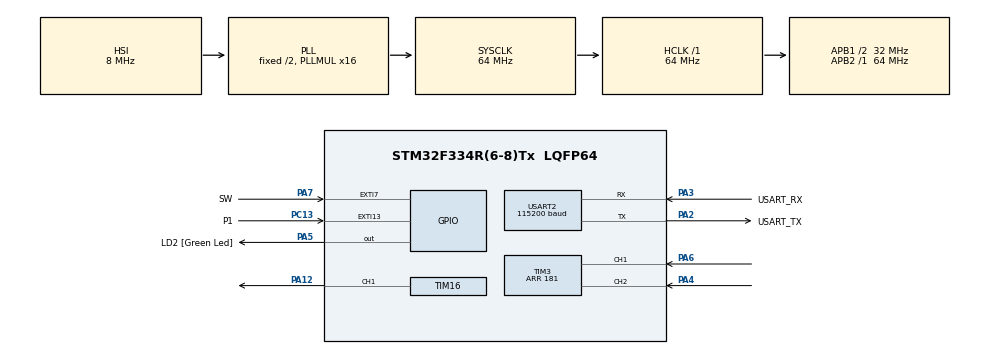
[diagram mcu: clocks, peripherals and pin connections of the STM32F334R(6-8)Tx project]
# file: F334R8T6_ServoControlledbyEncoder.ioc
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Mcu.Family=STM32F3
Mcu.Name=STM32F334R(6-8)Tx
Mcu.Package=LQFP64
NVIC.EXTI15_10_IRQn=true\:0\:0\:false\:false\:true\:true\:true\:true
NVIC.EXTI9_5_IRQn=true\:0\:0\:false\:false\:true\:true\:true\:true
NVIC.PriorityGroup=NVIC_PRIORITYGROUP_0
PA12.Signal=S_TIM16_CH1
PA13.GPIO_Label=TMS
PA13.Mode=Serial_Wire
PA13.Signal=SYS_JTMS-SWDIO
PA14.GPIO_Label=TCK
PA14.Mode=Serial_Wire
PA14.Signal=SYS_JTCK-SWCLK
PA2.GPIO_Label=USART_TX
PA2.Mode=Asynchronous
PA2.Signal=USART2_TX
PA3.GPIO_Label=USART_RX
PA3.Mode=Asynchronous
PA3.Signal=USART2_RX
PA4.Signal=S_TIM3_CH2
PA5.GPIO_Label=LD2 [Green Led]
PA5.Signal=GPIO_Output
PA6.Signal=S_TIM3_CH1
PA7.GPIO_Label=SW
PA7.GPIO_ModeDefaultEXTI=GPIO_MODE_IT_RISING
PA7.Signal=GPXTI7
PB3.GPIO_Label=SWO
PB3.Signal=SYS_JTDO-TRACESWO
PC13.GPIO_Label=P1
PC13.GPIO_ModeDefaultEXTI=GPIO_MODE_IT_FALLING
PC13.Signal=GPXTI13
PC14\ /\ OSC32_IN.Mode=LSE-External-Oscillator
PC14\ /\ OSC32_IN.Signal=RCC_OSC32_IN
PC15\ /\ OSC32_OUT.GPIO_Label=RCC_OSC32_OUT
PC15\ /\ OSC32_OUT.Mode=LSE-External-Oscillator
PC15\ /\ OSC32_OUT.Signal=RCC_OSC32_OUT
PF0\ /\ OSC_IN.Mode=HSE-External-Clock-Source
PF0\ /\ OSC_IN.Signal=RCC_OSC_IN
PF1\ /\ OSC_OUT.Signal=RCC_OSC_OUT
ProjectManager.HeapSize=0x200
ProjectManager.StackSize=0x400
ProjectManager.TargetToolchain=STM32CubeIDE
RCC.AHBFreq_Value=64000000
RCC.APB1CLKDivider=RCC_HCLK_DIV2
RCC.APB1Freq_Value=32000000
RCC.APB1TimFreq_Value=64000000
RCC.APB2Freq_Value=64000000
RCC.APB2TimFreq_Value=64000000
RCC.CortexFreq_Value=64000000
RCC.FLatency-AdvancedSettings=FLASH_LATENCY_2
RCC.HCLKFreq_Value=64000000
RCC.HSE_VALUE=8000000
RCC.HSI_VALUE=8000000
RCC.PLLMUL=RCC_PLL_MUL16
RCC.SYSCLKFreq_VALUE=64000000
RCC.SYSCLKSourceVirtual=RCC_SYSCLKSOURCE_PLLCLK
SH.S_TIM16_CH1.0=TIM16_CH1,PWM Generation1 CH1
SH.S_TIM3_CH1.0=TIM3_CH1,Encoder_Interface
SH.S_TIM3_CH2.0=TIM3_CH2,Encoder_Interface
TIM16.AutoReloadPreload=TIM_AUTORELOAD_PRELOAD_ENABLE
TIM16.Channel=TIM_CHANNEL_1
TIM16.Period=19999
TIM16.Prescaler=63
TIM3.EncoderMode=TIM_ENCODERMODE_TI1
TIM3.Period=181
USART2.BaudRate=115200
USART2.VirtualMode-Asynchronous=VM_ASYNC
VP_TIM16_VS_ClockSourceINT.Mode=Enable_Timer
board=NUCLEO-F334R8

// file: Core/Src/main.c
/* USER CODE BEGIN Header */
/**
  ******************************************************************************
  * @file           : main.c
  * @brief          : Main program body
  ******************************************************************************
  * @attention
  *
  * Copyright (c) 2022 STMicroelectronics.
  * All rights reserved.
  *
  * This software is licensed under terms that can be found in the LICENSE file
  * in the root directory of this software component.
  * If no LICENSE file comes with this software, it is provided AS-IS.
  *
  ******************************************************************************
  */
/* USER CODE END Header */
#include "main.h"
#include "tim.h"
#include "usart.h"
#include "gpio.h"

/* USER CODE BEGIN Includes */
#include <stdio.h>
#include <string.h>
#include "servo.h"
/* USER CODE END Includes */

void SystemClock_Config(void);

int main(void)
{

  /* MCU Configuration--------------------------------------------------------*/

  /* Reset of all peripherals, Initializes the Flash interface and the Systick. */
  HAL_Init();

  /* Configure the system clock */
  SystemClock_Config();

  /* Initialize all configured peripherals */
  MX_GPIO_Init();
  MX_USART2_UART_Init();
  MX_TIM16_Init();
  MX_TIM3_Init();
  /* USER CODE BEGIN 2 */
  HAL_TIM_PWM_Start(&htim16, TIM_CHANNEL_1 );//incjalizuje timer16 chanel1 jako pwm output
  HAL_TIM_Encoder_Start(&htim3, TIM_CHANNEL_ALL);

  void niggamryga()
  {//0-29
	  set_ang(0);//USTAWIA PWM NA 1ms BO prescaller jest na 1MHz-1us 1000us=1ms pwm
	  	 HAL_Delay(500);
	  	 set_ang(900);
	  	 HAL_Delay(500);
	  	 set_ang(1800);
	  	 HAL_Delay(500);

  }
  	  char msg[64];
  	uint8_t count;
  /* USER CODE END 2 */

  /* Infinite loop */
  /* USER CODE BEGIN WHILE */
  while (1)
  {
	  count=__HAL_TIM_GET_COUNTER(&htim3)/2;
	  //niggamryga();
	  sprintf((char*)msg,"NIGGA: %d\n",count);
	  HAL_UART_Transmit(&huart2, (uint8_t*)msg, strlen(msg), 1000);
	  set_ang(count*20);

    /* USER CODE END WHILE */

  }
}

void SystemClock_Config(void)
{
  RCC_OscInitTypeDef RCC_OscInitStruct = {0};
  RCC_ClkInitTypeDef RCC_ClkInitStruct = {0};

  /** Initializes the RCC Oscillators according to the specified parameters
  * in the RCC_OscInitTypeDef structure.
  */
  RCC_OscInitStruct.OscillatorType = RCC_OSCILLATORTYPE_HSI;
  RCC_OscInitStruct.HSIState = RCC_HSI_ON;
  RCC_OscInitStruct.HSICalibrationValue = RCC_HSICALIBRATION_DEFAULT;
  RCC_OscInitStruct.PLL.PLLState = RCC_PLL_ON;
  RCC_OscInitStruct.PLL.PLLSource = RCC_PLLSOURCE_HSI;
  RCC_OscInitStruct.PLL.PLLMUL = RCC_PLL_MUL16;
  if (HAL_RCC_OscConfig(&RCC_OscInitStruct) != HAL_OK)
  {
    Error_Handler();
  }

  /** Initializes the CPU, AHB and APB buses clocks
  */
  RCC_ClkInitStruct.ClockType = RCC_CLOCKTYPE_HCLK|RCC_CLOCKTYPE_SYSCLK
                              |RCC_CLOCKTYPE_PCLK1|RCC_CLOCKTYPE_PCLK2;
  RCC_ClkInitStruct.SYSCLKSource = RCC_SYSCLKSOURCE_PLLCLK;
  RCC_ClkInitStruct.AHBCLKDivider = RCC_SYSCLK_DIV1;
  RCC_ClkInitStruct.APB1CLKDivider = RCC_HCLK_DIV2;
  RCC_ClkInitStruct.APB2CLKDivider = RCC_HCLK_DIV1;

  if (HAL_RCC_ClockConfig(&RCC_ClkInitStruct, FLASH_LATENCY_2) != HAL_OK)
  {
    Error_Handler();
  }
}

/* USER CODE BEGIN 4 */
void HAL_GPIO_EXTI_Callback(uint16_t GPIO_Pin)
{
	if(GPIO_Pin== P1_Pin)
	{
		HAL_GPIO_TogglePin(LD2_GPIO_Port, LD2_Pin);
	}

}
/* USER CODE END 4 */

void Error_Handler(void)
{
  __disable_irq();
  while (1)
  {
  }
}
